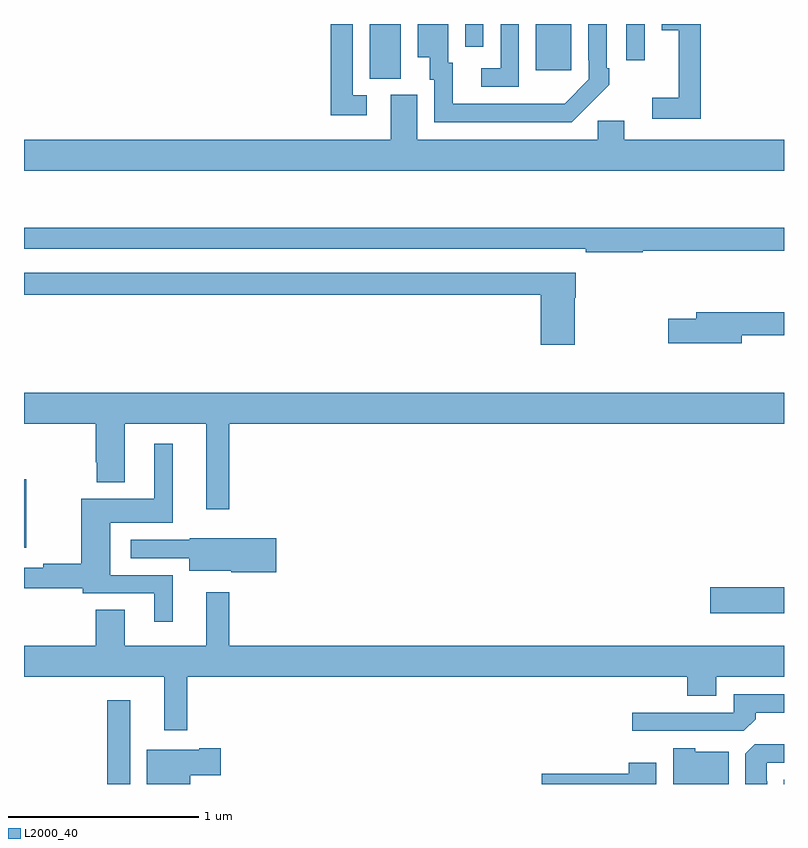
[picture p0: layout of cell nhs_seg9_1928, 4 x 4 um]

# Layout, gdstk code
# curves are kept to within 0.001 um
import gdstk
lib = gdstk.Library(unit=1e-6, precision=1e-09)
def R(c, l, rs):  # rectangles x0, y0, x1, y1
    for r in rs: c.add(gdstk.rectangle(r[:2], r[2:], *l))
def P(c, l, *ps):  # polygons
    for p in ps: c.add(gdstk.Polygon(p, *l))
L2000_40 = (2000, 40)

nhs_seg9_1928 = lib.new_cell('nhs_seg9_1928')
R(nhs_seg9_1928, L2000_40, [(219.438,1218.5,219.559,1218.94), (222.998,1218.5,223,1218.523), (222.612,1219.4,223,1219.535), (219,1219.743,219.012,1220.103), (220.82,1222.213,220.984,1222.5), (221.693,1222.257,221.881,1222.5), (222.171,1222.308,222.267,1222.5), (221.322,1222.38,221.418,1222.5)])
P(nhs_seg9_1928, L2000_40, [(221.975,1222.075),(221.976,1222.074),(222.081,1222.179),(222.081,1222.267),(222.066,1222.267),(222.066,1222.5),(221.97,1222.5),(221.97,1222.309),(221.973,1222.309),(221.973,1222.209),(221.845,1222.081),(221.741,1222.08),(221.257,1222.08),(221.257,1222.296),(221.233,1222.296),(221.233,1222.5),(221.072,1222.5),(221.072,1222.325),(221.135,1222.325),(221.135,1222.206),(221.16,1222.206),(221.16,1221.984),(221.884,1221.984)],
  [(220.804,1222.125),(220.731,1222.125),(220.731,1222.5),(220.615,1222.5),(220.615,1222.02),(220.804,1222.02)],
  [(222.563,1222.5),(222.356,1222.5),(222.356,1222.466),(222.446,1222.466),(222.446,1222.111),(222.306,1222.111),(222.306,1222.002),(222.563,1222.002)],
  [(221.604,1222.5),(221.508,1222.5),(221.508,1222.266),(221.406,1222.266),(221.406,1222.17),(221.604,1222.17)],
  [(223,1221.892),(222.16,1221.892),(222.16,1221.99),(222.021,1221.99),(222.021,1221.892),(221.071,1221.892),(221.071,1222.128),(220.931,1222.128),(220.931,1221.892),(219,1221.892),(219,1221.728),(223,1221.728)],
  [(222.256,1221.306),(223,1221.306),(223,1221.427),(219,1221.427),(219,1221.318),(221.956,1221.318),(221.956,1221.298),(222.256,1221.298)],
  [(221.898,1221.059),(221.903,1221.059),(221.903,1221.192),(219,1221.192),(219,1221.076),(221.72,1221.076),(221.72,1220.811),(221.898,1220.811)],
  [(222.778,1220.862),(223,1220.862),(223,1220.983),(222.539,1220.983),(222.539,1220.949),(222.39,1220.949),(222.39,1220.819),(222.778,1220.819)],
  [(220.081,1220.396),(223,1220.396),(223,1220.56),(219,1220.56),(219,1220.396),(219.377,1220.396),(219.377,1220.194),(219.382,1220.194),(219.382,1220.087),(219.529,1220.087),(219.529,1220.396),(219.959,1220.396),(219.959,1219.947),(220.081,1219.947)],
  [(219.784,1219.599),(219.454,1219.599),(219.454,1219.874),(219.784,1219.874),(219.784,1220.29),(219.686,1220.29),(219.686,1220.002),(219.301,1220.002),(219.301,1219.658),(219.1,1219.658),(219.1,1219.638),(219,1219.638),(219,1219.53),(219.308,1219.53),(219.308,1219.503),(219.686,1219.503),(219.686,1219.353),(219.784,1219.353)],
  [(220.327,1219.793),(219.873,1219.793),(219.873,1219.785),(219.561,1219.785),(219.561,1219.689),(219.869,1219.689),(219.869,1219.622),(220.092,1219.622),(220.092,1219.615),(220.327,1219.615)],
  [(219.859,1219.064),(222.491,1219.064),(222.491,1218.965),(222.643,1218.965),(222.643,1219.064),(223,1219.064),(223,1219.228),(220.081,1219.228),(220.081,1219.51),(219.959,1219.51),(219.959,1219.228),(219.529,1219.228),(219.529,1219.418),(219.377,1219.418),(219.377,1219.228),(219,1219.228),(219,1219.064),(219.737,1219.064),(219.737,1218.783),(219.859,1218.783)],
  [(222.851,1218.842),(222.851,1218.876),(223,1218.876),(223,1218.972),(222.735,1218.972),(222.735,1218.876),(222.201,1218.876),(222.201,1218.78),(222.789,1218.78)],
  [(222.913,1218.515),(222.909,1218.515),(222.909,1218.612),(223,1218.612),(223,1218.708),(222.846,1218.708),(222.797,1218.659),(222.797,1218.5),(222.913,1218.5)],
  [(222.709,1218.67),(222.534,1218.67),(222.534,1218.688),(222.416,1218.688),(222.416,1218.5),(222.709,1218.5)],
  [(219.874,1218.545),(220.036,1218.545),(220.036,1218.687),(219.923,1218.687),(219.923,1218.679),(219.647,1218.679),(219.647,1218.5),(219.874,1218.5)],
  [(222.328,1218.613),(222.182,1218.613),(222.182,1218.554),(221.724,1218.554),(221.724,1218.5),(222.328,1218.5)])

lib.write_gds('nhs_seg9_1928.gds')
